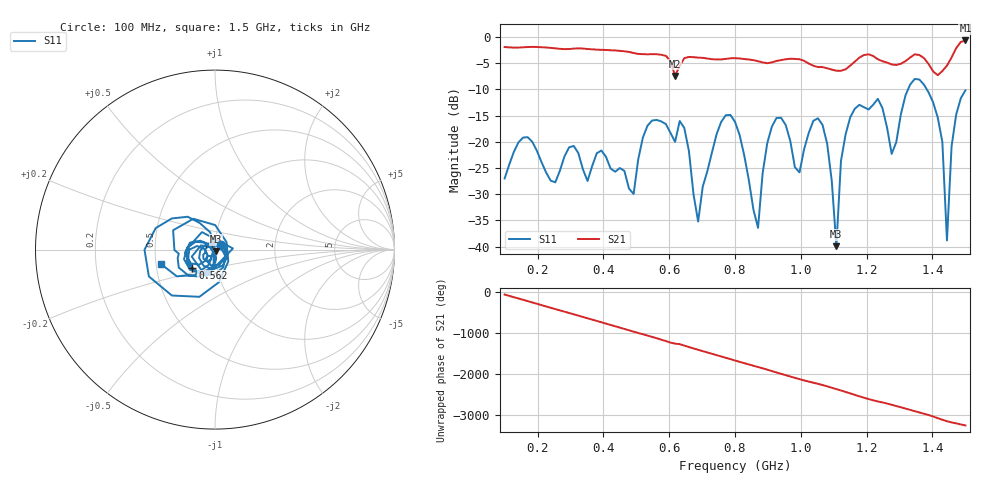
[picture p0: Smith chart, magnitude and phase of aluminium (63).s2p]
! NanoVNA-App
! Date: 2025-09-25 14:55:46
! Start: 100MHz Stop: 1,5GHz Points: 101
! S-Parameter data: F S11 S21 S12 S22
# Hz S RI R 50
!  Frequency  S11_Real  S11_Imag  S21_Real  S21_Imag  S12_Real  S12_Imag  S22_Real  S22_Imag
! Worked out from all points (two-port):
!   101 points, 100 MHz to 1.5 GHz, reference 50 ohm
!   highest |S21| = -0.67 dB at 1.5 GHz (marker M1); lowest = -7.4 dB at 618 MHz (marker M2)
!   |S21| within 3 dB of the highest: start of sweep to 590.9 MHz; 1.186 GHz to 1.221 GHz (35.34 MHz wide, 2.94 % of centre) (the widest 2 of 4)
!   lowest |S11| = -39.9 dB at 1.108 GHz (marker M3), VSWR 1.02, Z = 50.4 - j0.941 ohm
!   |S11| at or under -10 dB: start of sweep to 1.326 GHz; 1.383 GHz to end of sweep
!   S12 and S22 are empty: the file has one direction only
!   S11 on the Smith chart (normalised r, x): 100 MHz: 1.07, +0.06; 562 MHz: 0.76, -0.16; 1.5 GHz: 0.53, -0.10
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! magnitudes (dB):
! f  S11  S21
! 100 MHz  -27.0  -1.9
! 338 MHz  -25.3  -2.2
! 492 MHz  -29.9  -3.1
! 562 MHz  -15.8  -3.3
! 576 MHz  -16.1  -3.4
! 618 MHz  -20.0  -7.4
! 688 MHz  -35.2  -3.9
! 800 MHz  -16.2  -4.0
! 870 MHz  -36.4  -4.6
! 912 MHz  -17.1  -4.9
! 996 MHz  -25.8  -4.2
! 1.038 GHz  -16.0  -5.5
! 1.08 GHz  -20.4  -6.0
! 1.108 GHz  -39.9  -6.4
! 1.122 GHz  -23.6  -6.5
! 1.164 GHz  -13.7  -4.7
! 1.276 GHz  -22.3  -5.2
! 1.374 GHz  -9.1  -4.0
! 1.43 GHz  -20.0  -6.5
! 1.444 GHz  -38.8  -5.5
! 1.458 GHz  -20.9  -3.9
! 1.5 GHz  -10.2  -0.7
